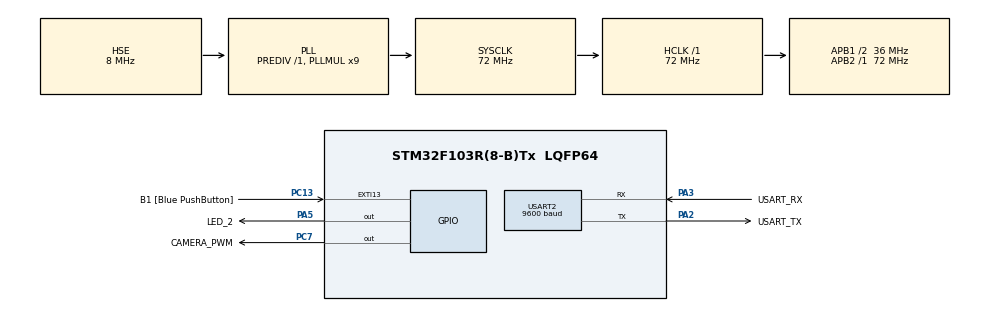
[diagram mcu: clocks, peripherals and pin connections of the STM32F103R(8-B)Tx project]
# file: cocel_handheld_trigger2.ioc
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Dma.Request0=USART2_RX
Dma.USART2_RX.0.Direction=DMA_PERIPH_TO_MEMORY
Dma.USART2_RX.0.Instance=DMA1_Channel6
Dma.USART2_RX.0.MemDataAlignment=DMA_MDATAALIGN_BYTE
Dma.USART2_RX.0.MemInc=DMA_MINC_ENABLE
Dma.USART2_RX.0.Mode=DMA_CIRCULAR
Dma.USART2_RX.0.PeriphDataAlignment=DMA_PDATAALIGN_BYTE
Dma.USART2_RX.0.PeriphInc=DMA_PINC_DISABLE
Dma.USART2_RX.0.Priority=DMA_PRIORITY_LOW
Mcu.Family=STM32F1
Mcu.Name=STM32F103R(8-B)Tx
Mcu.Package=LQFP64
NVIC.DMA1_Channel6_IRQn=true\:0\:0\:true\:false\:true\:false\:true\:true
NVIC.EXTI15_10_IRQn=true\:0\:0\:true\:false\:true\:true\:true\:true
NVIC.PriorityGroup=NVIC_PRIORITYGROUP_4
NVIC.TIM2_IRQn=true\:0\:0\:true\:false\:true\:true\:true\:true
NVIC.USART2_IRQn=true\:0\:0\:true\:false\:true\:true\:true\:true
PA13.GPIO_Label=TMS
PA13.Mode=Serial_Wire
PA13.Signal=SYS_JTMS-SWDIO
PA14.GPIO_Label=TCK
PA14.Mode=Serial_Wire
PA14.Signal=SYS_JTCK-SWCLK
PA2.GPIO_Label=USART_TX
PA2.GPIO_Mode=GPIO_MODE_AF_PP
PA2.GPIO_PuPd=GPIO_NOPULL
PA2.GPIO_Speed=GPIO_SPEED_FREQ_LOW
PA2.Mode=Asynchronous
PA2.Signal=USART2_TX
PA3.GPIO_Label=USART_RX
PA3.GPIO_Mode=GPIO_MODE_AF_PP
PA3.GPIO_PuPd=GPIO_NOPULL
PA3.GPIO_Speed=GPIO_SPEED_FREQ_LOW
PA3.Mode=Asynchronous
PA3.Signal=USART2_RX
PA5.GPIO_Label=LED_2
PA5.GPIO_ModeDefaultOutputPP=GPIO_MODE_OUTPUT_PP
PA5.GPIO_PuPd=GPIO_NOPULL
PA5.GPIO_Speed=GPIO_SPEED_FREQ_LOW
PA5.Signal=GPIO_Output
PB3.GPIO_Label=SWO
PB3.Signal=SYS_JTDO-TRACESWO
PC13-TAMPER-RTC.GPIO_Label=B1 [Blue PushButton]
PC13-TAMPER-RTC.GPIO_PuPd=GPIO_NOPULL
PC13-TAMPER-RTC.Signal=GPXTI13
PC14-OSC32_IN.Mode=LSE-External-Oscillator
PC14-OSC32_IN.Signal=RCC_OSC32_IN
PC15-OSC32_OUT.Mode=LSE-External-Oscillator
PC15-OSC32_OUT.Signal=RCC_OSC32_OUT
PC7.GPIO_Label=CAMERA_PWM
PC7.GPIO_PuPd=GPIO_PULLDOWN
PC7.GPIO_Speed=GPIO_SPEED_FREQ_MEDIUM
PC7.Signal=GPIO_Output
PD0-OSC_IN.Mode=HSE-External-Clock-Source
PD0-OSC_IN.Signal=RCC_OSC_IN
PD1-OSC_OUT.Mode=HSE-External-Clock-Source
PD1-OSC_OUT.Signal=RCC_OSC_OUT
ProjectManager.HeapSize=0x200
ProjectManager.StackSize=0x400
ProjectManager.TargetToolchain=STM32CubeIDE
RCC.AHBFreq_Value=72000000
RCC.APB1CLKDivider=RCC_HCLK_DIV2
RCC.APB1Freq_Value=36000000
RCC.APB1TimFreq_Value=72000000
RCC.APB2Freq_Value=72000000
RCC.APB2TimFreq_Value=72000000
RCC.HCLKFreq_Value=72000000
RCC.PLLMUL=RCC_PLL_MUL9
RCC.PLLSourceVirtual=RCC_PLLSOURCE_HSE
RCC.RTCClockSelection=RCC_RTCCLKSOURCE_LSE
RCC.SYSCLKFreq_VALUE=72000000
RCC.SYSCLKSource=RCC_SYSCLKSOURCE_PLLCLK
RCC.USBFreq_Value=72000000
TIM2.Period=49
TIM2.Prescaler=719
USART2.BaudRate=9600
USART2.VirtualMode=VM_ASYNC
VP_TIM2_VS_ClockSourceINT.Mode=Internal
board=NUCLEO-F103RB

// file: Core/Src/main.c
/* USER CODE BEGIN Header */
/**
  ******************************************************************************
  * @file           : main.c
  * @brief          : Main program body
  ******************************************************************************
  * @attention
  *
  * Copyright (c) 2024 STMicroelectronics.
  * All rights reserved.
  *
  * This software is licensed under terms that can be found in the LICENSE file
  * in the root directory of this software component.
  * If no LICENSE file comes with this software, it is provided AS-IS.
  *
  ******************************************************************************
  */
/* USER CODE END Header */
#include "main.h"

/* USER CODE BEGIN Includes */
#include "stdlib.h"

/* USER CODE END Includes */

TIM_HandleTypeDef htim2;

UART_HandleTypeDef huart2;
DMA_HandleTypeDef hdma_usart2_rx;

void SystemClock_Config(void);
static void MX_GPIO_Init(void);
static void MX_DMA_Init(void);
static void MX_USART2_UART_Init(void);
static void MX_TIM2_Init(void);

/* USER CODE BEGIN 0 */
#define QUEUE_SIZE 10
#define WINDOW_SIZE 10
#define CAMERA_LIDAR_HZ_RATIO 3 // Lidar 10hz -> Camera 30hz
#define PWM_WIDTH 1000 // 1000dus = 10000us = 10ms
#define INITIALIZE_TOLERANCE_SEC 5
#define RX_BUFFER_SIZE 2
#define OVER_OVERFLOW_VALUE 5965232
#define CONVERGE_DELAY_THD 50 // [dus] // 50dus -> 0.5ms

//======================================================================================================================================
/* Class Sliding Window for LidarInfo */
typedef struct{
	int32_t lidar_time_arr[WINDOW_SIZE];
	int32_t interval_arr[WINDOW_SIZE - 1];
	int lidar_time_size;
	int interval_size;
	int32_t sum_of_interval;
}LidarInfo;

void pushbackLiDAR(LidarInfo* lidar__, int32_t nVar)
{
	// lidar time
	if(lidar__->lidar_time_size >= WINDOW_SIZE)
	{
		for(int i = 0; i < WINDOW_SIZE - 1; i++)
		{
			lidar__->lidar_time_arr[i] = lidar__->lidar_time_arr[i+1];
		}
		lidar__->lidar_time_arr[WINDOW_SIZE - 1] = nVar;
	}
	else
	{
		lidar__->lidar_time_arr[lidar__->lidar_time_size] = nVar;
		lidar__->lidar_time_size++;
	}

	// interval
	if(lidar__->interval_size >= WINDOW_SIZE - 1)
	{
		lidar__->sum_of_interval -= lidar__->interval_arr[0];
		for(int i = 0; i < WINDOW_SIZE - 2; i++)
		{
			lidar__->interval_arr[i] = lidar__->interval_arr[i+1];
		}
		lidar__->interval_arr[WINDOW_SIZE - 2] = (lidar__->lidar_time_arr[WINDOW_SIZE - 1] - lidar__->lidar_time_arr[WINDOW_SIZE - 2]);
		lidar__->sum_of_interval += lidar__->interval_arr[WINDOW_SIZE - 2];
	}
	else
	{
		if(lidar__->lidar_time_size > 1)
		{
			lidar__->interval_arr[lidar__->interval_size] = lidar__->lidar_time_arr[lidar__->interval_size + 1] - lidar__->lidar_time_arr[lidar__->interval_size];
			lidar__->sum_of_interval += lidar__->interval_arr[lidar__->interval_size];
			lidar__->interval_size++;
		}
	}
}

void compensateLiDAR(LidarInfo* lidar__, int32_t nTime)
{
	for(int i = 0; i < WINDOW_SIZE; i++)
	{
		lidar__->lidar_time_arr[i] += nTime;
	}
}

//======================================================================================================================================
/* Class Queue */
typedef struct queue
{
	int32_t buffer_[QUEUE_SIZE];
	int head;
	int tail;
}queue;

void queue_push(queue* queue_, int32_t var)
{
	queue_->buffer_[queue_->head] = var;
	queue_->head++;

	if(queue_->head >= QUEUE_SIZE)
	{
		queue_->head = 0;
	}
}
int32_t queue_pop(queue* queue_)
{
	int32_t pop_data = queue_->buffer_[queue_->tail];
	queue_->tail++;

	if(queue_->tail >= QUEUE_SIZE)
	{
		queue_->tail = 0;
	}
	return pop_data;
}
int queue_is_empty(queue* queue_)
{
	if(queue_->head == queue_->tail)return 1;
	else return 0;
}
int32_t get_queue(queue* queue_)
{
	return queue_->buffer_[queue_->tail];
}

//======================================================================================================================================

uint8_t rx_buffer[RX_BUFFER_SIZE];
int32_t rx_delay_buffer[RX_BUFFER_SIZE];
int32_t rx_delay_data;
int32_t time_lidar_ros_offset = 0;
int32_t delay_gain = 0;

LidarInfo* lidar;

int32_t curr_time = 0;
int32_t curr_cycle_time = 0;
int32_t prev_cycle_time = 0;
int32_t overflow_count = 0;
int32_t tmp_curr_time = 0;

int initialize_stack = 0;
int32_t tmp_lidar_time_for_init = 0;

int32_t last_lidar_time = 0;
int32_t predicted_lidar_time = 0;
int is_converge = 0;

queue* q_camera_rising_edge_time;
queue* q_camera_faling_edge_time;

int32_t for_debugging = 0;
int32_t for_debugging2 = 0;

void DWT_Init(void); //
int32_t DWT_GetDecaMicroseconds(void); // 10us clock timer
void reInitialize(void);

// 0.5ms period
void HAL_TIM_PeriodElapsedCallback(TIM_HandleTypeDef *htim)
{
	// check LiDAR Time
	if(tmp_lidar_time_for_init == lidar->lidar_time_arr[WINDOW_SIZE - 1])initialize_stack++;
	else initialize_stack = 0;
	if (initialize_stack >= INITIALIZE_TOLERANCE_SEC*2000)reInitialize();
	tmp_lidar_time_for_init = lidar->lidar_time_arr[WINDOW_SIZE - 1];
//	int estimation_flag = last_lidar_time <= lidar.lidar_time_arr[WINDOW_SIZE - 1] ? 1 : 0;

	// output rising edge
	tmp_curr_time = 0;
	int32_t tmp_DWT_time = DWT_GetDecaMicroseconds();
	if(prev_cycle_time > tmp_DWT_time)tmp_curr_time += OVER_OVERFLOW_VALUE; // overflow check
	tmp_curr_time += overflow_count*OVER_OVERFLOW_VALUE + tmp_DWT_time; // get current time

	// Pseudo PWM
	if(!queue_is_empty(q_camera_rising_edge_time))
	{
		int32_t rising_edge_time = get_queue(q_camera_rising_edge_time);
		int32_t faling_edge_time = get_queue(q_camera_faling_edge_time);
		if(tmp_curr_time >= rising_edge_time && tmp_curr_time <= faling_edge_time)
		{
			// GPIO On
			HAL_GPIO_WritePin(GPIOC, CAMERA_PWM_Pin, GPIO_PIN_SET);
		}
		if(tmp_curr_time >= faling_edge_time)
		{
			// GPIO Off
			HAL_GPIO_WritePin(GPIOC, CAMERA_PWM_Pin, GPIO_PIN_RESET);
			queue_pop(q_camera_rising_edge_time);
			queue_pop(q_camera_faling_edge_time);
		}
	}
}

void reInitialize(void)
{
	initialize_stack = 0;

	curr_time = 0;
	curr_cycle_time = 0;
	prev_cycle_time = 0;
	overflow_count = 0;

	for(int i = 0; i < WINDOW_SIZE; i++)lidar->lidar_time_arr[i] = 0;
	for(int i = 0; i < WINDOW_SIZE - 1; i++)lidar->interval_arr[i] = 0;
	lidar->lidar_time_size = 0;
	lidar->interval_size = 0;
	lidar->sum_of_interval = 0;

	last_lidar_time = 0;
	predicted_lidar_time = 0;

	for(int i = 0; i < QUEUE_SIZE; i++)q_camera_rising_edge_time->buffer_[i] = 0;
	q_camera_rising_edge_time->head = 0;
	q_camera_rising_edge_time->tail = 0;
	for(int i = 0; i < QUEUE_SIZE; i++)q_camera_faling_edge_time->buffer_[i] = 0;
	q_camera_faling_edge_time->head = 0;
	q_camera_faling_edge_time->tail = 0;

	rx_delay_data = 0;
	time_lidar_ros_offset = 0;
	delay_gain = 0;
	is_converge = 0;
	HAL_GPIO_WritePin(GPIOA, LED_2_Pin, GPIO_PIN_RESET);
}

// UART interrupt
void HAL_UART_RxCpltCallback(UART_HandleTypeDef *huart)
{

	if(huart->Instance==USART2)
	{
		// get uart data
		HAL_UART_Receive_IT(&huart2, rx_delay_buffer, RX_BUFFER_SIZE*4);
		time_lidar_ros_offset = rx_delay_buffer[0];
		rx_delay_data = rx_delay_buffer[1];

		// get current time
		curr_cycle_time = DWT_GetDecaMicroseconds();
		if(curr_cycle_time < prev_cycle_time)overflow_count++; // overflow check
//		curr_time = overflow_count*5969399 + curr_cycle_time;
//		curr_time = overflow_count*5965232 + curr_cycle_time;
		curr_time = overflow_count*OVER_OVERFLOW_VALUE + curr_cycle_time;

		// led toggle for debugging
		if(is_converge == 0) HAL_GPIO_TogglePin(GPIOA, LED_2_Pin);
		else if(is_converge == 1) HAL_GPIO_WritePin(GPIOA, LED_2_Pin, GPIO_PIN_SET);

		// gain
		if(lidar->lidar_time_size == WINDOW_SIZE)
		{
			if(rx_delay_data > 0)
			{
				delay_gain += 10; // 10dus -> 100us -> 0.1ms
				compensateLiDAR(lidar, 10);
			}
			else if(rx_delay_data < 0)
			{
				delay_gain -= 10;;
				compensateLiDAR(lidar, -10);
			}
//			delay_gain += rx_delay_data;
//			compensateLiDAR(lidar, rx_delay_data);

			// check converge
			if(rx_delay_data < CONVERGE_DELAY_THD && rx_delay_data > -CONVERGE_DELAY_THD && rx_delay_data != 0)
			{
				is_converge = 1;
			}
//			if(is_converge == 1 && (rx_delay_data > CONVERGE_DELAY_THD || rx_delay_data < -CONVERGE_DELAY_THD))
//			{
//				is_converge = 0;
//			}
		}

		// Compensate LiDAR ros time and send time differrence
		curr_time -= time_lidar_ros_offset;

		// Compensate Serial Communication time (8byte -> 8.333ms -> 8333us -> 833.3dus)
		curr_time -= 833;

		// compensate delay
		curr_time += delay_gain;
		for_debugging2 = delay_gain;

		// time push
		pushbackLiDAR(lidar, curr_time);

		// estimation LiDAR Time
		last_lidar_time = lidar->lidar_time_arr[WINDOW_SIZE - 1];
		int32_t predicted_lidar_interval = lidar->sum_of_interval/(WINDOW_SIZE - 1);

		predicted_lidar_time = last_lidar_time + 2*predicted_lidar_interval;

		int32_t real_predicted_lidar_time = predicted_lidar_time;

		// if not converge, LiDAR Hz == Camera Hz
		if(is_converge == 0)
		{
			// Calculate Camera Capture Time
			int32_t predicted_camera_interval = predicted_lidar_interval;

			int32_t rising_edge_time = real_predicted_lidar_time;
			int32_t faling_edge_time = rising_edge_time + PWM_WIDTH;

			queue_push(q_camera_rising_edge_time, rising_edge_time);
			queue_push(q_camera_faling_edge_time, faling_edge_time);
		}
		// if converge
		else if(is_converge == 1)
		{
			// Calculate Camera Capture Time
			int32_t predicted_camera_interval = predicted_lidar_interval/CAMERA_LIDAR_HZ_RATIO;

			//
			for(int i = 0; i < CAMERA_LIDAR_HZ_RATIO; i++)
			{
				int32_t rising_edge_time = real_predicted_lidar_time - (CAMERA_LIDAR_HZ_RATIO - i - 1)*predicted_camera_interval;
				int32_t faling_edge_time = rising_edge_time + PWM_WIDTH;

				queue_push(q_camera_rising_edge_time, rising_edge_time);
				queue_push(q_camera_faling_edge_time, faling_edge_time);
			}
		}

		prev_cycle_time = curr_cycle_time;
	}
}

// clock
int32_t DWT_GetDecaMicroseconds(void)
{
	// if run, SystemCoreClock is 72MHz
    return DWT->CYCCNT / (SystemCoreClock / 100000); // 10us unit
}
void DWT_Init(void)
{
	// Activate DWT cycle counter
	CoreDebug->DEMCR |= CoreDebug_DEMCR_TRCENA_Msk;
	DWT->CYCCNT = 0; // Initialize Cycle counter
	DWT->CTRL |= DWT_CTRL_CYCCNTENA_Msk; // Activate Cycle counter
}

/* USER CODE END 0 */

int main(void)
{

  /* MCU Configuration--------------------------------------------------------*/

  /* Reset of all peripherals, Initializes the Flash interface and the Systick. */
  HAL_Init();

  /* Configure the system clock */
  SystemClock_Config();

  /* Initialize all configured peripherals */
  MX_GPIO_Init();
  MX_DMA_Init();
  MX_USART2_UART_Init();
  MX_TIM2_Init();
  /* USER CODE BEGIN 2 */
  HAL_UART_Receive_DMA(&huart2, rx_delay_buffer, RX_BUFFER_SIZE*4);
  DWT_Init();
  lidar = (LidarInfo*)malloc(sizeof(LidarInfo));
  q_camera_rising_edge_time = (queue*)malloc(sizeof(queue));
  q_camera_faling_edge_time = (queue*)malloc(sizeof(queue));
  reInitialize();
  /* @@@@@@@@@@@@@@@@@@@@@@@
  @@@  TIMER 2 - 2000Hz  @@@
  @@@@@@@@@@@@@@@@@@@@@@@ */
  HAL_TIM_Base_Start_IT(&htim2);

  /* @@@@@@@@@@@@@@@@@@@@@@@@
  @@@  TIMER 2 - 10000Hz  @@@
  @@@@@@@@@@@@@@@@@@@@@@@@ */

  /* USER CODE END 2 */

  /* Infinite loop */
  while (1)
  {

  }
}

void SystemClock_Config(void)
{
  RCC_OscInitTypeDef RCC_OscInitStruct = {0};
  RCC_ClkInitTypeDef RCC_ClkInitStruct = {0};

  /** Initializes the RCC Oscillators according to the specified parameters
  * in the RCC_OscInitTypeDef structure.
  */
  RCC_OscInitStruct.OscillatorType = RCC_OSCILLATORTYPE_HSE;
  RCC_OscInitStruct.HSEState = RCC_HSE_BYPASS;
  RCC_OscInitStruct.HSEPredivValue = RCC_HSE_PREDIV_DIV1;
  RCC_OscInitStruct.HSIState = RCC_HSI_ON;
  RCC_OscInitStruct.PLL.PLLState = RCC_PLL_ON;
  RCC_OscInitStruct.PLL.PLLSource = RCC_PLLSOURCE_HSE;
  RCC_OscInitStruct.PLL.PLLMUL = RCC_PLL_MUL9;
  if (HAL_RCC_OscConfig(&RCC_OscInitStruct) != HAL_OK)
  {
    Error_Handler();
  }

  /** Initializes the CPU, AHB and APB buses clocks
  */
  RCC_ClkInitStruct.ClockType = RCC_CLOCKTYPE_HCLK|RCC_CLOCKTYPE_SYSCLK
                              |RCC_CLOCKTYPE_PCLK1|RCC_CLOCKTYPE_PCLK2;
  RCC_ClkInitStruct.SYSCLKSource = RCC_SYSCLKSOURCE_PLLCLK;
  RCC_ClkInitStruct.AHBCLKDivider = RCC_SYSCLK_DIV1;
  RCC_ClkInitStruct.APB1CLKDivider = RCC_HCLK_DIV2;
  RCC_ClkInitStruct.APB2CLKDivider = RCC_HCLK_DIV1;

  if (HAL_RCC_ClockConfig(&RCC_ClkInitStruct, FLASH_LATENCY_2) != HAL_OK)
  {
    Error_Handler();
  }
}

static void MX_TIM2_Init(void)
{

  TIM_ClockConfigTypeDef sClockSourceConfig = {0};
  TIM_MasterConfigTypeDef sMasterConfig = {0};

  htim2.Instance = TIM2;
  htim2.Init.Prescaler = 719;
  htim2.Init.CounterMode = TIM_COUNTERMODE_UP;
  htim2.Init.Period = 49;
  htim2.Init.ClockDivision = TIM_CLOCKDIVISION_DIV1;
  htim2.Init.AutoReloadPreload = TIM_AUTORELOAD_PRELOAD_DISABLE;
  if (HAL_TIM_Base_Init(&htim2) != HAL_OK)
  {
    Error_Handler();
  }
  sClockSourceConfig.ClockSource = TIM_CLOCKSOURCE_INTERNAL;
  if (HAL_TIM_ConfigClockSource(&htim2, &sClockSourceConfig) != HAL_OK)
  {
    Error_Handler();
  }
  sMasterConfig.MasterOutputTrigger = TIM_TRGO_RESET;
  sMasterConfig.MasterSlaveMode = TIM_MASTERSLAVEMODE_DISABLE;
  if (HAL_TIMEx_MasterConfigSynchronization(&htim2, &sMasterConfig) != HAL_OK)
  {
    Error_Handler();
  }

}

static void MX_USART2_UART_Init(void)
{

  huart2.Instance = USART2;
  huart2.Init.BaudRate = 9600;
  huart2.Init.WordLength = UART_WORDLENGTH_8B;
  huart2.Init.StopBits = UART_STOPBITS_1;
  huart2.Init.Parity = UART_PARITY_NONE;
  huart2.Init.Mode = UART_MODE_TX_RX;
  huart2.Init.HwFlowCtl = UART_HWCONTROL_NONE;
  huart2.Init.OverSampling = UART_OVERSAMPLING_16;
  if (HAL_UART_Init(&huart2) != HAL_OK)
  {
    Error_Handler();
  }

}

static void MX_DMA_Init(void)
{

  /* DMA controller clock enable */
  __HAL_RCC_DMA1_CLK_ENABLE();

  /* DMA interrupt init */
  /* DMA1_Channel6_IRQn interrupt configuration */
  HAL_NVIC_SetPriority(DMA1_Channel6_IRQn, 0, 0);
  HAL_NVIC_EnableIRQ(DMA1_Channel6_IRQn);

}

static void MX_GPIO_Init(void)
{
  GPIO_InitTypeDef GPIO_InitStruct = {0};

  /* GPIO Ports Clock Enable */
  __HAL_RCC_GPIOC_CLK_ENABLE();
  __HAL_RCC_GPIOD_CLK_ENABLE();
  __HAL_RCC_GPIOA_CLK_ENABLE();
  __HAL_RCC_GPIOB_CLK_ENABLE();

  /*Configure GPIO pin Output Level */
  HAL_GPIO_WritePin(LED_2_GPIO_Port, LED_2_Pin, GPIO_PIN_RESET);

  /*Configure GPIO pin Output Level */
  HAL_GPIO_WritePin(CAMERA_PWM_GPIO_Port, CAMERA_PWM_Pin, GPIO_PIN_RESET);

  /*Configure GPIO pin : B1_Pin */
  GPIO_InitStruct.Pin = B1_Pin;
  GPIO_InitStruct.Mode = GPIO_MODE_IT_RISING;
  GPIO_InitStruct.Pull = GPIO_NOPULL;
  HAL_GPIO_Init(B1_GPIO_Port, &GPIO_InitStruct);

  /*Configure GPIO pin : LED_2_Pin */
  GPIO_InitStruct.Pin = LED_2_Pin;
  GPIO_InitStruct.Mode = GPIO_MODE_OUTPUT_PP;
  GPIO_InitStruct.Pull = GPIO_NOPULL;
  GPIO_InitStruct.Speed = GPIO_SPEED_FREQ_LOW;
  HAL_GPIO_Init(LED_2_GPIO_Port, &GPIO_InitStruct);

  /*Configure GPIO pin : CAMERA_PWM_Pin */
  GPIO_InitStruct.Pin = CAMERA_PWM_Pin;
  GPIO_InitStruct.Mode = GPIO_MODE_OUTPUT_PP;
  GPIO_InitStruct.Pull = GPIO_PULLDOWN;
  GPIO_InitStruct.Speed = GPIO_SPEED_FREQ_MEDIUM;
  HAL_GPIO_Init(CAMERA_PWM_GPIO_Port, &GPIO_InitStruct);

  /* EXTI interrupt init*/
  HAL_NVIC_SetPriority(EXTI15_10_IRQn, 0, 0);
  HAL_NVIC_EnableIRQ(EXTI15_10_IRQn);

}

void Error_Handler(void)
{
  __disable_irq();
  while (1)
  {
  }
}
